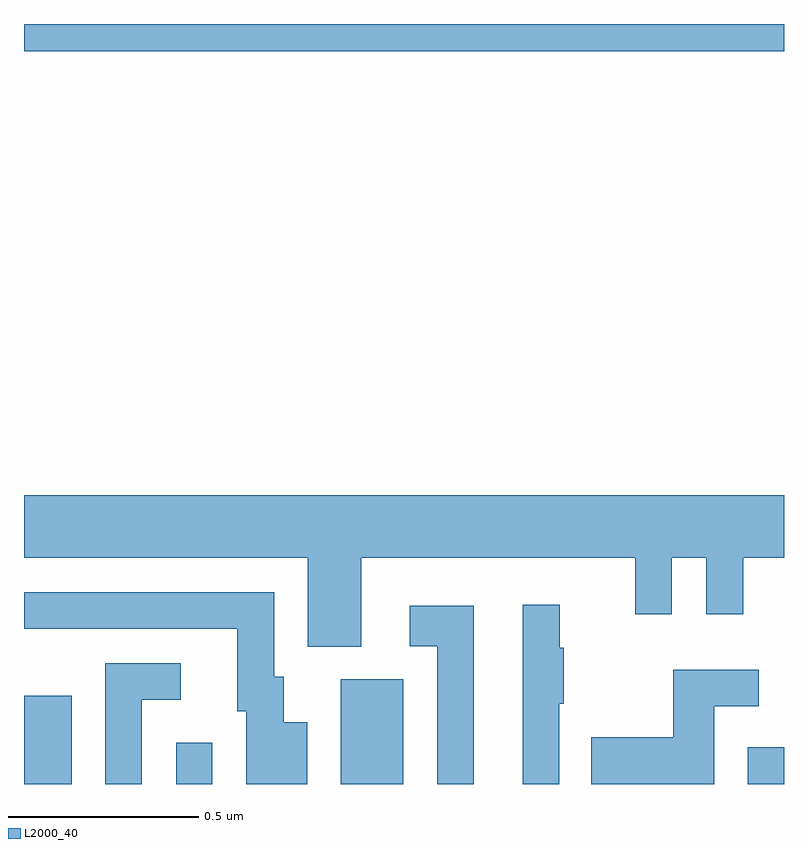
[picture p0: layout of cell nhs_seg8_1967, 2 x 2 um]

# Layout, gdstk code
import gdstk
lib = gdstk.Library(unit=1e-6, precision=1e-09)
def R(c, l, rs):  # rectangles x0, y0, x1, y1
    for r in rs: c.add(gdstk.rectangle(r[:2], r[2:], *l))
def P(c, l, *ps):  # polygons
    for p in ps: c.add(gdstk.Polygon(p, *l))
L2000_40 = (2000, 40)

nhs_seg8_1967 = lib.new_cell('nhs_seg8_1967')
R(nhs_seg8_1967, L2000_40, [(137,1119.9,137.125,1120.132), (137.4,1119.9,137.496,1120.009), (137.834,1119.9,137.998,1120.176), (138.905,1119.9,139,1119.997), (137,1121.828,139,1121.9)])
P(nhs_seg8_1967, L2000_40, [(137.887,1120.496),(138.608,1120.496),(138.608,1120.347),(138.705,1120.347),(138.705,1120.496),(138.795,1120.496),(138.795,1120.347),(138.893,1120.347),(138.893,1120.496),(139,1120.496),(139,1120.66),(137,1120.66),(137,1120.496),(137.747,1120.496),(137.747,1120.261),(137.887,1120.261)],
  [(137.746,1120.063),(137.683,1120.063),(137.683,1120.182),(137.658,1120.182),(137.658,1120.404),(137,1120.404),(137,1120.308),(137.561,1120.308),(137.561,1120.092),(137.585,1120.092),(137.585,1119.9),(137.746,1119.9)],
  [(138.408,1120.111),(138.421,1120.111),(138.421,1120.259),(138.41,1120.259),(138.41,1120.372),(138.312,1120.372),(138.312,1119.9),(138.408,1119.9)],
  [(138.183,1120.369),(138.015,1120.369),(138.015,1120.263),(138.087,1120.263),(138.087,1119.9),(138.183,1119.9)],
  [(137.31,1120.122),(137.413,1120.122),(137.413,1120.218),(137.214,1120.218),(137.214,1119.9),(137.31,1119.9)],
  [(138.816,1120.104),(138.934,1120.104),(138.934,1120.201),(138.708,1120.201),(138.708,1120.023),(138.493,1120.023),(138.493,1119.9),(138.816,1119.9)])

lib.write_gds('nhs_seg8_1967.gds')
